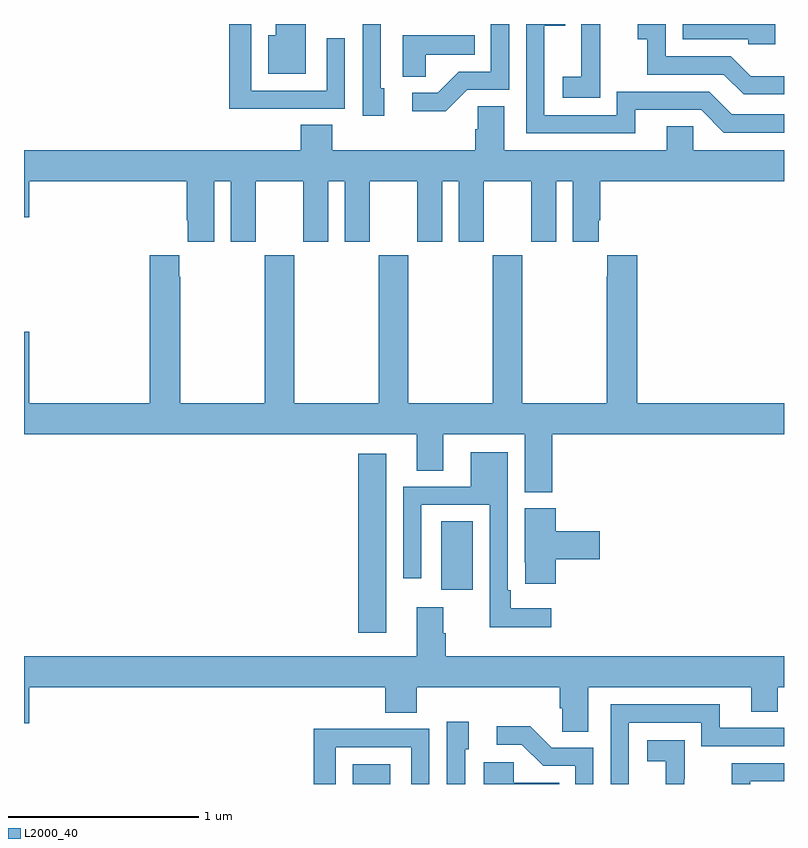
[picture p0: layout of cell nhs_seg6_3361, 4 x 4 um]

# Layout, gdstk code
import gdstk
lib = gdstk.Library(unit=1e-6, precision=1e-09)
def R(c, l, rs):  # rectangles x0, y0, x1, y1
    for r in rs: c.add(gdstk.rectangle(r[:2], r[2:], *l))
def P(c, l, *ps):  # polygons
    for p in ps: c.add(gdstk.Polygon(p, *l))
L2000_40 = (2000, 40)

nhs_seg6_3361 = lib.new_cell('nhs_seg6_3361')
R(nhs_seg6_3361, L2000_40, [(310.73,941.5,310.927,941.605), (310.76,942.297,310.906,943.237), (311.195,942.522,311.362,942.884)])
P(nhs_seg6_3361, L2000_40, [(312.953,945.5),(312.468,945.5),(312.468,945.42),(312.813,945.42),(312.813,945.393),(312.953,945.393)],
  [(312.217,945.048),(312.564,945.048),(312.684,944.928),(313,944.928),(313,945.024),(312.726,945.024),(312.606,945.144),(312.12,945.144),(312.12,945.021),(311.739,945.021),(311.739,945.49),(311.849,945.49),(311.849,945.5),(311.643,945.5),(311.643,944.925),(312.217,944.925)],
  [(312.033,945.319),(312.032,945.319),(312.032,945.5),(311.934,945.5),(311.934,945.452),(311.933,945.452),(311.933,945.223),(311.835,945.223),(311.835,945.113),(312.033,945.113)],
  [(310.373,945.054),(310.689,945.054),(310.689,945.424),(310.593,945.424),(310.593,945.15),(310.197,945.15),(310.197,945.5),(310.081,945.5),(310.081,945.053),(310.373,945.053)],
  [(310.483,945.5),(310.325,945.5),(310.325,945.442),(310.286,945.442),(310.286,945.239),(310.483,945.239)],
  [(313,945.226),(312.824,945.226),(312.72,945.33),(312.378,945.33),(312.378,945.5),(312.231,945.5),(312.231,945.419),(312.28,945.419),(312.28,945.234),(312.683,945.234),(312.788,945.129),(313,945.129)],
  [(311.334,945.153),(311.553,945.153),(311.553,945.5),(311.457,945.5),(311.457,945.249),(311.288,945.249),(311.177,945.138),(311.043,945.138),(311.043,945.041),(311.221,945.041)],
  [(310.897,945.162),(310.878,945.162),(310.878,945.5),(310.782,945.5),(310.782,945.018),(310.897,945.018)],
  [(311.115,945.338),(311.372,945.338),(311.372,945.442),(310.994,945.442),(310.994,945.223),(311.115,945.223)],
  [(310,944.672),(310.088,944.672),(310.088,944.355),(310.219,944.355),(310.219,944.672),(310.469,944.672),(310.469,944.355),(310.6,944.355),(310.6,944.672),(310.688,944.672),(310.688,944.355),(310.819,944.355),(310.819,944.672),(311.069,944.672),(311.069,944.355),(311.2,944.355),(311.2,944.672),(311.288,944.672),(311.288,944.355),(311.419,944.355),(311.419,944.672),(311.669,944.672),(311.669,944.355),(311.8,944.355),(311.8,944.672),(311.888,944.672),(311.888,944.355),(312.025,944.355),(312.025,944.467),(312.032,944.467),(312.032,944.672),(313,944.672),(313,944.836),(312.522,944.836),(312.522,944.963),(312.383,944.963),(312.383,944.836),(311.527,944.836),(311.527,945.068),(311.388,945.068),(311.388,944.945),(311.375,944.945),(311.375,944.836),(310.622,944.836),(310.622,944.969),(310.457,944.969),(310.457,944.836),(309,944.836),(309,944.484),(309.028,944.484),(309.028,944.672),(309.857,944.672),(309.857,944.467),(309.863,944.467),(309.863,944.355),(310,944.355)],
  [(311.78,943.34),(313,943.34),(313,943.504),(312.227,943.504),(312.227,944.284),(312.071,944.284),(312.071,944.171),(312.067,944.171),(312.067,943.504),(311.622,943.504),(311.622,944.284),(311.467,944.284),(311.467,943.504),(311.022,943.504),(311.022,944.284),(310.867,944.284),(310.867,943.504),(310.422,943.504),(310.422,944.284),(310.267,944.284),(310.267,943.504),(309.822,943.504),(309.822,944.171),(309.817,944.171),(309.817,944.284),(309.662,944.284),(309.662,943.504),(309.028,943.504),(309.028,943.879),(309,943.879),(309,943.34),(311.066,943.34),(311.066,943.15),(311.206,943.15),(311.206,943.34),(311.636,943.34),(311.636,943.036),(311.78,943.036)],
  [(311.776,942.424),(311.563,942.424),(311.563,942.52),(311.547,942.52),(311.547,943.246),(311.351,943.246),(311.351,943.065),(310.995,943.065),(310.995,942.582),(311.091,942.582),(311.091,942.969),(311.451,942.969),(311.451,942.326),(311.776,942.326)],
  [(311.798,942.683),(312.031,942.683),(312.031,942.83),(311.798,942.83),(311.798,942.951),(311.636,942.951),(311.636,942.667),(311.637,942.667),(311.637,942.555),(311.798,942.555)],
  [(311.971,942.008),(312.827,942.008),(312.827,941.881),(312.966,941.881),(312.966,942.008),(313,942.008),(313,942.172),(311.219,942.172),(311.219,942.293),(311.206,942.293),(311.206,942.43),(311.066,942.43),(311.066,942.172),(309,942.172),(309,941.82),(309.028,941.82),(309.028,942.008),(310.901,942.008),(310.901,941.875),(311.066,941.875),(311.066,942.008),(311.819,942.008),(311.819,941.899),(311.832,941.899),(311.832,941.776),(311.971,941.776)],
  [(312.183,941.823),(312.564,941.823),(312.564,941.7),(313,941.7),(313,941.796),(312.661,941.796),(312.661,941.919),(312.087,941.919),(312.087,941.5),(312.183,941.5)],
  [(311.322,941.682),(311.341,941.682),(311.341,941.827),(311.226,941.827),(311.226,941.5),(311.322,941.5)],
  [(311.997,941.691),(311.778,941.691),(311.665,941.804),(311.487,941.804),(311.487,941.706),(311.621,941.706),(311.732,941.595),(311.901,941.595),(311.901,941.5),(311.997,941.5)],
  [(310.641,941.694),(311.037,941.694),(311.037,941.5),(311.133,941.5),(311.133,941.79),(310.817,941.79),(310.817,941.792),(310.525,941.792),(310.525,941.5),(310.641,941.5)],
  [(312.476,941.525),(312.477,941.525),(312.477,941.731),(312.279,941.731),(312.279,941.621),(312.377,941.621),(312.377,941.5),(312.476,941.5)],
  [(311.816,941.506),(311.577,941.506),(311.577,941.614),(311.42,941.614),(311.42,941.5),(311.816,941.5)],
  [(312.822,941.514),(313,941.514),(313,941.61),(312.724,941.61),(312.724,941.5),(312.822,941.5)])

lib.write_gds('nhs_seg6_3361.gds')
